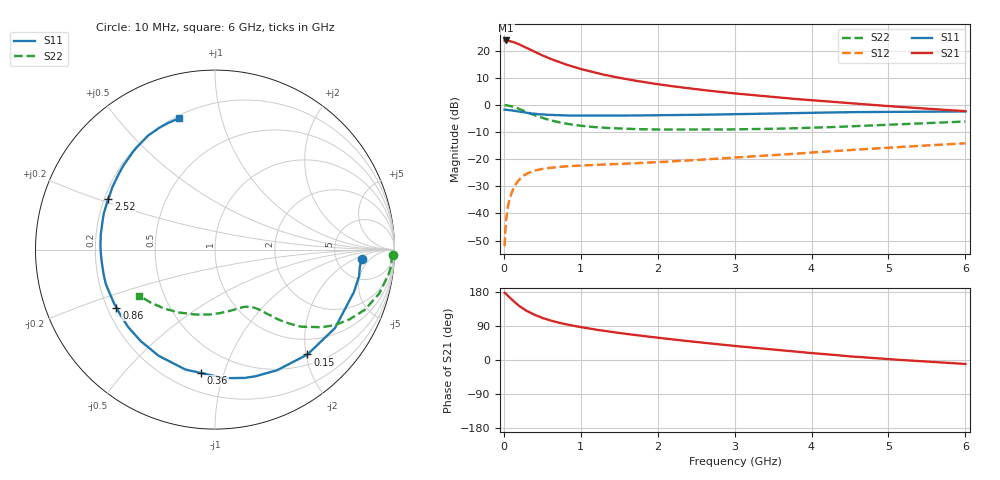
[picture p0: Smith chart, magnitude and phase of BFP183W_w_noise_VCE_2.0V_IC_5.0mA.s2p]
! Infineon Technologies  Discrete & RF Semiconductors
! BFP183W
! VCE = 2.0 V,  IC =  5.0 mA
! Common Emitter S-Parameters:  Jan 2016
# GHz  S  MA  R  50
!  f  S11  S21  S12  S22
! GHz  MAG  ANG  MAG  ANG  MAG  ANG  MAG  ANG
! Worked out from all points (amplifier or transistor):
!   210 points, 10 MHz to 6 GHz, reference 50 ohm
!   highest |S21| = 23.8 dB at 30 MHz (marker M1)
!   |S21| within 3 dB of that: start of sweep to 312.2 MHz
!   unconditionally stable (mu >= 1): 1.736 GHz to 5.758 GHz
!   at 185 MHz: K = 0.15, MSG = 25.3 dB, |S12| = -28.1 dB
!   at 1.52 GHz: K = 0.91, MSG = 15.8 dB, |S12| = -21.7 dB
!   at 6 GHz: K = 0.98, MSG = 5.9 dB, |S12| = -14.1 dB
!   lowest NFmin = 1.15 dB at 450 MHz
!   S11 on the Smith chart (normalised r, x): 10 MHz: 9.14, -2.85; 150 MHz: 0.68, -2.03; 360 MHz: 0.32, -0.84; 860 MHz: 0.24, -0.26; 2.52 GHz: 0.22, +0.21; 6 GHz: 0.22, +0.74
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0.01  0.8189 -3.6  15.32 177.3  0.0025 89.8  0.9907 -1.6
0.03  0.8164 -10.4  15.41 174.1  0.0075 86.0  0.987 -4.7
0.05  0.8093 -17.0  15.28 169.9  0.0127 81.5  0.9784 -7.8
0.1  0.7988 -33.2  14.73 160.1  0.0237 73.0  0.9464 -15.1
0.15  0.7791 -48.6  13.98 150.8  0.0339 65.6  0.8994 -21.9
0.2  0.7558 -62.8  13.05 142.6  0.042 58.9  0.8444 -27.4
0.24  0.7408 -72.4  12.28 137.2  0.0476 54.4  0.8004 -31.2
0.3  0.718 -85.9  11.12 129.2  0.0543 48.8  0.736 -36.0
0.36  0.6918 -96.5  10.11 123.5  0.0586 44.5  0.6812 -39.2
0.4  0.6882 -103.9  9.499 119.1  0.0617 41.9  0.6461 -41.7
0.5  0.6698 -118.0  8.181 111.0  0.0666 37.4  0.5767 -45.3
0.6  0.6566 -129.1  7.116 104.6  0.0695 33.8  0.5241 -47.9
0.7  0.6483 -138.2  6.309 99.2  0.0718 32.0  0.4849 -49.6
0.86  0.6375 -149.5  5.274 92.1  0.0746 29.5  0.44 -52.0
1.02  0.6356 -158.3  4.511 86.1  0.0767 28.5  0.4104 -54.1
1.42  0.635 -175.0  3.326 73.6  0.0812 28.4  0.3725 -59.0
2.02  0.6454 166.6  2.389 58.4  0.0887 31.4  0.3526 -67.8
2.52  0.6576 154.8  1.934 47.2  0.097 33.9  0.3511 -76.6
3.1  0.6797 142.8  1.582 35.2  0.1096 36.0  0.3558 -88.0
4.1  0.7209 125.9  1.192 16.7  0.1357 36.9  0.3832 -110.5
5.1  0.7474 113.5  0.931 0.9  0.1662 35.0  0.438 -132.7
6  0.7583 105.3  0.769 -10.4  0.1965 31.8  0.4946 -148.7
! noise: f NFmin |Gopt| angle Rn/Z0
0.45  1.15  0.25  40  0.26
0.9  1.2  0.25  93  0.22
1.8  1.95  0.32  170  0.13
